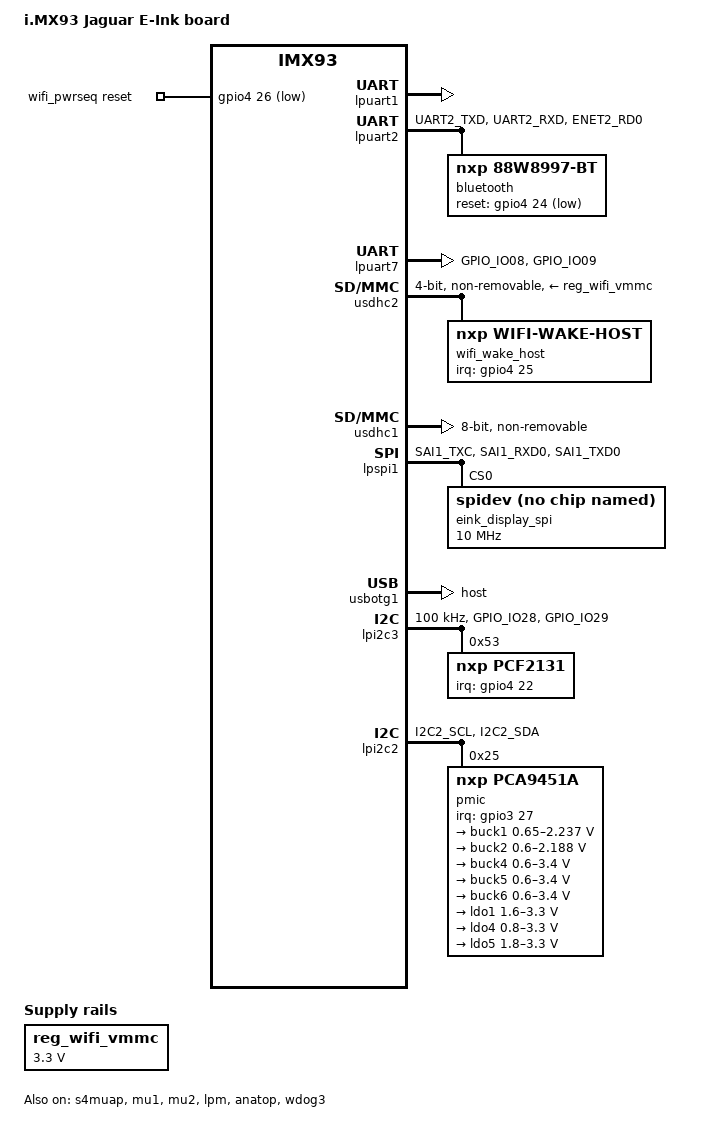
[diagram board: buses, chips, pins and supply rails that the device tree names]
// SPDX-License-Identifier: (GPL-2.0+ OR MIT)
/*
 * Copyright 2022 NXP
 * Copyright 2024 Dynamic Devices Ltd
 * 
 * Device tree for Dynamic Devices i.MX93 Jaguar E-Ink board
 * 
 * ============================================================================
 * CRITICAL FIXES APPLIED - DO NOT REVERT WITHOUT UNDERSTANDING
 * ============================================================================
 * 
 * 1. BBNSM IRQ CONFLICT RESOLUTION:
 *    - BBNSM RTC disabled (using external PCF2131 for 166x power savings)
 *    - BBNSM power key disabled (no physical button on board)
 *    - Prevents: genirq: Flags mismatch irq 20 / bbnsm_rtc failed to request irq
 * 
 * 2. LPUART7 IRQ FIX:
 *    - Removed custom IRQ override (GIC_SPI 73) that conflicted with BBNSM
 *    - Now uses correct default IRQ (GIC_SPI 210 = Linux IRQ 242)
 *    - Prevents: GPIO device link failures and UART conflicts
 * 
 * 3. BLUETOOTH MAYA W2 LPUART FIX:
 *    - Moved from LPUART5 to LPUART2 to match actual hardware configuration
 *    - Fixes: "Bluetooth: hci0: Opcode 0x0c03 failed: -110" (HCI Reset timeout)
 *    - Root cause: Base DT has bluetooth on LPUART2, our overlay had LPUART5
 *    - btnxpuart driver now binds correctly to hardware on LPUART2
 * 
 * 4. LPSPI2 DMA ERROR FIX:
 *    - Explicitly disabled unused LPSPI2 to prevent DMA setup errors
 *    - Prevents: "fsl_lpspi 44360000.spi: dma setup error -19, use pio"
 * 
 * 5. POWER OPTIMIZATION:
 *    - Primary RTC: PCF2131 (I2C3, 600nA, wake capability)
 *    - Internal RTC: DISABLED (100µA too high for 5-year battery life)
 *    - PMU RTC: MCXC143VFM (always powered, system management)
 * 
 * Features:
 * - ublox MAYA W2 module (IW612 chipset) for WiFi/BT/802.15.4
 * - LTE modem support
 * - Power management via MCXC143VFM microcontroller
 * - E-Ink display interfaces (SPI primary, QSPI disabled)
 * - 5-year battery life optimization
 * ============================================================================
 */

/dts-v1/;

#include <dt-bindings/input/input.h>
#include <dt-bindings/gpio/gpio.h>
#include <dt-bindings/interrupt-controller/irq.h>
#include "freescale/imx93.dtsi"

/* EdgeLock Enclave enabled on E-Ink board for secure functionality */

/ {
	model = "i.MX93 Jaguar E-Ink board";
    compatible = "fsl,imx93-jaguar-eink", "fsl,imx93-11x11-evk", "fsl,imx93";

	chosen {
		stdout-path = &lpuart1;
	};

	/* Serial port aliases - explicit mapping to prevent out-of-range errors */
	aliases {
		serial0 = &lpuart1;  /* Console UART */
		serial1 = &lpuart2;  /* Bluetooth UART - MAYA W2 */
		serial2 = &lpuart7;  /* Power Management UART - MCXC143VFM PMU */
		/* Explicitly disable unused LPUARTs to prevent conflicts */
		serial3 = &lpuart3;  /* Unused */
		serial4 = &lpuart4;  /* Unused */
		serial5 = &lpuart5;  /* Unused */
		serial6 = &lpuart6;  /* Unused */
		serial7 = &lpuart8;  /* Unused */
	};

	/* LMP Bootloader node - required by Foundries.io LMP */
	bootloader {
		compatible = "lmp,bootloader";
	};

	reserved-memory {
		#address-cells = <2>;
		#size-cells = <2>;
		ranges;

		linux,cma {
			compatible = "shared-dma-pool";
			reusable;
			alloc-ranges = <0 0x80000000 0 0x40000000>;
			size = <0 0x10000000>;
			linux,cma-default;
		};

		ethosu_mem: ethosu_region@C0000000 {
			compatible = "shared-dma-pool";
			reusable;
			reg = <0x0 0xC0000000 0x0 0x10000000>;
		};

		/* EdgeLock Enclave reserved memory region */
		ele_reserved: ele-reserved@90000000 {
			compatible = "shared-dma-pool";
			reg = <0 0x90000000 0 0x100000>;
			no-map;
		};

		/* Cortex-M33 reserved memory regions */
		rsc_table: rsc-table@1fff8000 {
			reg = <0 0x1fff8000 0 0x1000>;
			no-map;
		};

		vdev0vring0: vdev0vring0@aff00000 {
			reg = <0 0xaff00000 0 0x8000>;
			no-map;
		};

		vdev0vring1: vdev0vring1@aff08000 {
			reg = <0 0xaff08000 0 0x8000>;
			no-map;
		};

		vdev1vring0: vdev1vring0@aff10000 {
			reg = <0 0xaff10000 0 0x8000>;
			no-map;
		};

		vdev1vring1: vdev1vring1@aff18000 {
			reg = <0 0xaff18000 0 0x8000>;
			no-map;
		};

		vdevbuffer: vdevbuffer@a8400000 {
			compatible = "shared-dma-pool";
			reg = <0 0xa8400000 0 0x100000>;
			no-map;
		};

		m33_reserved: m33_noncacheable_section@a8600000 {
			no-map;
			reg = <0 0xa8600000 0 0x1000000>;
		};
	};

	/* WiFi SDIO power sequence */
	wifi_pwrseq: wifi-pwrseq {
		compatible = "mmc-pwrseq-simple";
		pinctrl-names = "default";
		pinctrl-0 = <&pinctrl_wifi_gpio>;
		reset-gpios = <&gpio4 26 GPIO_ACTIVE_LOW>; /* WLAN_RST */
		post-power-on-delay-ms = <500>; /* Increased for proper reset */
		power-off-delay-us = <50000>; /* Increased to 50ms for proper reset */
	};

	/* Regulators */
	reg_wifi_vmmc: regulator-wifi-vmmc {
		compatible = "regulator-fixed";
		regulator-name = "VSD_3V3";
		regulator-min-microvolt = <3300000>;
		regulator-max-microvolt = <3300000>;
		/* WiFi power is controlled by MCXC143VFM, not directly by i.MX93 GPIO */
		regulator-always-on;
		startup-delay-us = <100>;
	};

};

/* Cortex-M33 support - TODO: Add proper CM33 node definition for i.MX93 */
/* Removed &cm33 reference as it doesn't exist in i.MX93 base device tree */

/* EdgeLock Enclave Message Unit - required for secure functionality */
&s4muap {
	status = "okay";
};

&mu1 {
	status = "okay";
};

&mu2 {
	status = "okay";
};

/* EdgeLock Enclave Message Unit - required for secure functionality */
&s4muap {
	status = "okay";
};

&mu1 {
	status = "okay";
};

&mu2 {
	status = "okay";
};

/* ============================================================================
 * BBNSM (Battery-Backed Security Module) Configuration - POWER OPTIMIZED
 * ============================================================================
 * 
 * CRITICAL IRQ CONFLICT RESOLUTION:
 * The base i.MX93 device tree defines both bbnsm_rtc and bbnsm_pwrkey using
 * the SAME IRQ (GIC_SPI 73 = Linux IRQ 105). This causes boot failures:
 * 
 * ERROR: genirq: Flags mismatch irq 20. 00000084 (rtc alarm) vs. 00000004 (fsl-lpuart)
 * ERROR: bbnsm_rtc 44440000.bbnsm:rtc: failed to request irq 20: -16
 * 
 * SOLUTION: Disable both BBNSM devices since:
 * 1. No physical power button exists on this board
 * 2. External PCF2131 RTC is 166x more power efficient (600nA vs 100µA)
 * 
 * POWER ARCHITECTURE:
 * - Internal BBNSM RTC: ~100µA (DISABLED - too high for 5-year battery life)
 * - External PCF2131 RTC: 600nA (PRIMARY - ultra-low power, I2C3 @ 0x53)
 * - MCXC143VFM PMU RTC: Always powered (internal to power management micro)
 * ============================================================================ */

&bbnsm_pwrkey {
	status = "disabled";  /* No physical power button on this board */
};

&bbnsm_rtc {
	status = "disabled";  /* Using external PCF2131 for 166x better power efficiency */
};


/* Console UART */
&lpuart1 {
	status = "okay";
};

/* Unused UARTs - explicitly disable to prevent GPIO conflicts and device link failures */
&lpuart2 {
	pinctrl-names = "default";
	pinctrl-0 = <&pinctrl_lpuart2 &pinctrl_bluetooth_gpio>;
	/* MAYA W2 Bluetooth configuration - higher baudrate required
	 * Hardware flow control disabled to prevent timeout issues
	 * Fixes: "Bluetooth: hci0: Setting wake-up method failed (-110)"
	 * Reference: MAYA W2 needs 3MHz baudrate for proper initialization
	 */
	/* fsl,uart-has-rtscts; -- DISABLED for MAYA W2 compatibility */
	status = "okay";  /* Bluetooth UART - MAYA W2 */

	bluetooth {
		compatible = "nxp,88w8997-bt";
		fw-init-baudrate = <3000000>;  /* Higher baudrate for MAYA W2 - 115200 was causing timeout errors */
		reset-gpios = <&gpio4 24 GPIO_ACTIVE_LOW>;  /* BT_RST - MX93_PAD_ENET2_RD0__GPIO4_IO24 */
	};
};

&lpuart3 {
	status = "disabled";  /* Unused */
	/* Disable power management to prevent device link failures during boot */
	/delete-property/ power-domains;
};

&lpuart4 {
	status = "disabled";  /* Unused */
	/* Disable power management to prevent device link failures during boot */
	/delete-property/ power-domains;
};

&lpuart6 {
	status = "disabled";  /* Unused */
	/* Disable power management to prevent device link failures during boot */
	/delete-property/ power-domains;
};

&lpuart8 {
	status = "disabled";  /* Unused */
	/* Disable power management to prevent device link failures during boot */
	/delete-property/ power-domains;
};

/* Pin configuration for LPUART2 Bluetooth */
&iomuxc {
	/* Pin configuration for LPUART2 Bluetooth - MAYA W2 without flow control */
	pinctrl_lpuart2: lpuart2grp {
		fsl,pins = <
			MX93_PAD_UART2_TXD__LPUART2_TX		0x31e  /* BT UART TX - Output from iMX93 */
			MX93_PAD_UART2_RXD__LPUART2_RX		0x31e  /* BT UART RX - Input to iMX93 */
			/* RTS/CTS pins removed - MAYA W2 doesn't support hardware flow control reliably
			 * Hardware flow control disabled to prevent timeout issues
			 */
		>;
	};

	pinctrl_bluetooth_gpio: bluetooth_gpio_grp {
		fsl,pins = <
			MX93_PAD_ENET2_RD0__GPIO4_IO24		0x31e  /* BT_RST - Active Low, Software Reset for BT & 802.15.4 */
		>;
	};

	/* LPUART7 pinctrl for MCXC143VFM power management microcontroller */
	pinctrl_lpuart7: lpuart7grp {
		fsl,pins = <
			MX93_PAD_GPIO_IO08__LPUART7_TX		0x31e  /* TX to MCXC143VFM power management micro */
			MX93_PAD_GPIO_IO09__LPUART7_RX		0x31e  /* RX from MCXC143VFM power management micro */
		>;
	};

	/* WiFi GPIO pin configuration */
	pinctrl_wifi_gpio: wifi_gpio_grp {
		fsl,pins = <
			MX93_PAD_ENET2_RD2__GPIO4_IO26		0x31e  /* WLAN_RST - WiFi Reset (Active-Low) */
		>;
	};

	/* FlexSPI1 (QSPI) pin configuration for E-Ink display - Primary Option */
	pinctrl_flexspi1: flexspi1grp {
		fsl,pins = <
			MX93_PAD_SD3_CLK__FLEXSPI1_A_SCLK	0x31e  /* QSPI Clock */
			MX93_PAD_SD3_CMD__FLEXSPI1_A_SS0_B	0x31e  /* QSPI CS0 */
			MX93_PAD_SD3_DATA0__FLEXSPI1_A_DATA00	0x31e  /* QSPI Data 0 */
			MX93_PAD_SD3_DATA1__FLEXSPI1_A_DATA01	0x31e  /* QSPI Data 1 */
			MX93_PAD_SD3_DATA2__FLEXSPI1_A_DATA02	0x31e  /* QSPI Data 2 */
			MX93_PAD_SD3_DATA3__FLEXSPI1_A_DATA03	0x31e  /* QSPI Data 3 */
		>;
	};

	/* SPI1 pin configuration for E-Ink display - Backup Option */
	pinctrl_lpspi1: lpspi1grp {
		fsl,pins = <
			MX93_PAD_SAI1_TXC__LPSPI1_SIN		0x31e  /* MISO */
			MX93_PAD_SAI1_RXD0__LPSPI1_SOUT		0x31e  /* MOSI */
			MX93_PAD_SAI1_TXD0__LPSPI1_SCK		0x31e  /* SCK */
		>;
	};

	/* SPI3 pin configuration - NOT USED on this board */
	/* 802.15.4 interface not implemented - pins needed for LPUART7 power management */
	/*
	pinctrl_lpspi3: lpspi3grp {
		fsl,pins = <
			MX93_PAD_GPIO_IO09__LPSPI3_SIN		0x31e  // MOSI - conflicts with LPUART7_RX
			MX93_PAD_GPIO_IO10__LPSPI3_SOUT		0x31e  // MISO
			MX93_PAD_GPIO_IO11__LPSPI3_SCK		0x31e  // SCK
			MX93_PAD_GPIO_IO08__LPSPI3_PCS0		0x31e  // CS0 - conflicts with LPUART7_TX
			MX93_PAD_ENET2_RD3__GPIO4_IO27		0x31e  // ZB_INT - 802.15.4 Interrupt
		>;
	};
	*/

	/* E-Ink display GPIO pins
	 * 
	 * CRITICAL: i.MX93 GPIO CHIP MAPPING (NON-LOGICAL ORDER!)
	 * =====================================================
	 * gpiochip0: GPIOs 512-543 = GPIO2 (platform/43810000)
	 * gpiochip1: GPIOs 544-575 = GPIO3 (platform/43820000)  
	 * gpiochip2: GPIOs 576-607 = GPIO4 (platform/43830000)
	 * gpiochip3: GPIOs 608-639 = GPIO1 (platform/47400000)
	 *
	 * GPIO Calculation Formula:
	 * GPIO1_IOx = 608 + x  (gpiochip3)
	 * GPIO2_IOx = 512 + x  (gpiochip0)
	 * GPIO3_IOx = 544 + x  (gpiochip1)
	 * GPIO4_IOx = 576 + x  (gpiochip2)
	 *
	 * E-Ink Control Signals (Hardware-Verified):
	 *   - RES_DIS# (GPIO 526): GPIO2_IO14 = 512+14 = 526 - Reset (Active-Low)
	 *   - D/C#_DIS (GPIO 527): GPIO2_IO15 = 512+15 = 527 - Data/Command (LO=Cmd, HI=Data)
	 *   - L#R_SEL_DIS (GPIO 528): GPIO2_IO16 = 512+16 = 528 - Chip Select Routing (LO=Left, HI=Right)
	 *   - BUSY_DIS# (GPIO 529): GPIO2_IO17 = 512+17 = 529 - Busy Status (LO=Busy, Input)
	 *   - CS1 (GPIO 619): GPIO1_IO11 = 608+11 = 619 - Chip Select 1 (Right half)
	 *   - NO POWER ENABLE GPIO (power managed by MCXC143VFM microcontroller)
	 */
	pinctrl_eink_gpio: eink_gpio_grp {
		fsl,pins = <
			MX93_PAD_GPIO_IO14__GPIO2_IO14		0x31e  /* RES_DIS# - Reset (Active-Low) - GPIO 526 */
			MX93_PAD_GPIO_IO15__GPIO2_IO15		0x31e  /* D/C#_DIS - Data/Command (LO=Cmd, HI=Data) - GPIO 527 */
			MX93_PAD_GPIO_IO16__GPIO2_IO16		0x31e  /* L#R_SEL_DIS - Chip Select Routing (LO=Left, HI=Right) - GPIO 528 */
			MX93_PAD_GPIO_IO17__GPIO2_IO17		0x31e  /* CS0 - Chip Select 0 (Left half) - GPIO 529 */
			MX93_PAD_SAI1_TXFS__GPIO1_IO11		0x31e  /* CS1 - Chip Select 1 (Right half) - GPIO 619 */
		>;
	};

	/* I2C2 pinctrl for PCA9451A PMIC */
	pinctrl_lpi2c2: lpi2c2grp {
		fsl,pins = <
			MX93_PAD_I2C2_SCL__LPI2C2_SCL		0x40000b9e  /* I2C2_SCL */
			MX93_PAD_I2C2_SDA__LPI2C2_SDA		0x40000b9e  /* I2C2_SDA */
		>;
	};

	/* I2C3 pinctrl for PCF2131 RTC - confirmed by schematic */
	pinctrl_lpi2c3: lpi2c3grp {
		fsl,pins = <
			MX93_PAD_GPIO_IO28__LPI2C3_SDA		0x40000b9e  /* I2C3_SDA */
			MX93_PAD_GPIO_IO29__LPI2C3_SCL		0x40000b9e  /* I2C3_SCL */
		>;
	};

	/* PCF2131 RTC interrupt pin configuration */
	pinctrl_pcf2131_irq: pcf2131_irq_grp {
		fsl,pins = <
			MX93_PAD_ENET2_RX_CTL__GPIO4_IO22	0x31e  /* PCF2131 INTA# - Wake interrupt */
		>;
	};

};

&lpuart5 {
	status = "disabled";  /* Unused - Bluetooth moved to LPUART2 to match hardware */
	/* Disable power management to prevent device link failures during boot */
	/delete-property/ power-domains;
};

/* ============================================================================
 * Power Control Microcontroller UART - MCXC143VFM - LPUART7
 * ============================================================================
 * 
 * CRITICAL IRQ FIX - CUSTOM IRQ OVERRIDE REMOVED:
 * Previous incorrect configuration had:
 *   interrupts = <GIC_SPI 73 IRQ_TYPE_LEVEL_HIGH>;  // WRONG - conflicts with BBNSM
 * 
 * This caused IRQ conflicts because GIC_SPI 73 (Linux IRQ 105) was already
 * used by BBNSM RTC and BBNSM power key, leading to boot failures.
 * 
 * CORRECT CONFIGURATION:
 * Now uses default IRQ from base i.MX93 device tree:
 *   - LPUART7 @ 0x42690000: GIC_SPI 210 (Linux IRQ 242)
 *   - No conflicts with other devices
 * 
 * HARDWARE DETAILS:
 * - Address: 0x42690000 (LPUART7)
 * - IRQ: GIC_SPI 210 (Linux IRQ 242) - from base imx93.dtsi
 * - Device: /dev/ttyLP2 (serial2 alias)
 * - Pins: MX93_PAD_GPIO_IO08 (TX), MX93_PAD_GPIO_IO09 (RX)
 * - Baudrate: 115200 (default)
 * 
 * MCXC143VFM FUNCTIONS:
 * - WiFi/BT power control and sequencing
 * - Battery monitoring and fuel gauge
 * - System power management and wake scheduling  
 * - 5-year battery life optimization algorithms
 * ============================================================================ */
&lpuart7 {
	pinctrl-names = "default";
	pinctrl-0 = <&pinctrl_lpuart7>;
	/* Use default IRQ assignment from base i.MX93 device tree (GIC_SPI 210 = IRQ 242) */
	/* Previous custom override (GIC_SPI 73) was causing IRQ conflicts with BBNSM */
	status = "okay";
	
	/* TEMPORARY WORKAROUND FOR TESTING: Disable runtime power management for MCXC143VFM communication */
	/* This prevents the UART from going into suspend mode which breaks PMU communication */
	/* TODO: Find a more elegant solution that allows power management while maintaining communication */
	/delete-property/ power-domains;
	
	/* No child device node - MCXC143VFM controlled via userspace application */
};

/* WiFi SDIO Interface - ublox MAYA W2 (IW612) */
&usdhc2 {
	vmmc-supply = <&reg_wifi_vmmc>;
	mmc-pwrseq = <&wifi_pwrseq>;
	bus-width = <4>;
	keep-power-in-suspend;
	non-removable;
	wakeup-source;
	max-frequency = <100000000>;
	fsl,sdio-async-interrupt-enabled;
	pm-ignore-notify;
	cap-power-off-card;
	status = "okay";

	wifi_wake_host {
		compatible = "nxp,wifi-wake-host";
		interrupt-parent = <&gpio4>;
		interrupts = <25 IRQ_TYPE_LEVEL_LOW>;  /* ENET2_RD1 - SD2_INT */
		interrupt-names = "host-wake";
		wakeup-source;
	};
};

/* eMMC storage */
&usdhc1 {
	bus-width = <8>;
	non-removable;
	keep-power-in-suspend;
	status = "okay";
};

/*
 * E-Ink Display SPI Configuration - Spectra 6 EL133UF1
 * 
 * Both QSPI and regular SPI interfaces are enabled by default for maximum flexibility:
 * 
 * FlexSPI1 (QSPI) - Primary Option:
 *   - Device: /dev/spidev0.0
 *   - Speed: Up to 80 MHz
 *   - 4-bit data width (quad mode)
 *   - Uses SD3 pins (SD3_CLK, SD3_CMD, SD3_DATA0-3)
 *   - Compatible: "spectra6,el133uf1-qspi", "spidev" (fallback for testing)
 * 
 * LPSPI1 (Regular SPI) - Backup/Alternative Option:
 *   - Device: /dev/spidev1.0  
 *   - Speed: Up to 10 MHz (conservative)
 *   - 1-bit data width (standard SPI)
 *   - Uses SAI1 pins (SAI1_TXC, SAI1_RXD0, SAI1_TXD0, SAI1_TXFS)
 *   - Compatible: "spectra6,el133uf1-spi", "spidev" (fallback for testing)
 * 
 * Both interfaces share the same GPIO control pins (reset, busy, dc) and power supply.
 * The spidev fallback compatible string enables /dev/spidev* devices for testing
 * and development while preserving the ability to load custom E-Ink drivers.
 */

/* QSPI Interface for E-Ink Display - DISABLED (FlexSPI doesn't support spidev) */
&flexspi1 {
	pinctrl-names = "default";
	pinctrl-0 = <&pinctrl_flexspi1>;
	status = "disabled"; /* FlexSPI uses MTD subsystem, not spidev */

	eink_display: flash@0 {
		compatible = "rohm,dh2228fv";
		reg = <0>;
		spi-max-frequency = <80000000>; /* 80 MHz - QSPI can handle higher speeds */
		spi-tx-bus-width = <4>; /* Quad SPI - 4 data lines for TX */
		spi-rx-bus-width = <4>; /* Quad SPI - 4 data lines for RX */
		
		/* GPIO control pins for E-Ink display - pinctrl only (allows userspace access) */
		pinctrl-names = "default";
		pinctrl-0 = <&pinctrl_eink_gpio>;
		
		
		status = "disabled"; /* FlexSPI uses MTD subsystem, not spidev */
	};
};

/* Standard SPI Interface for E-Ink Display - PRIMARY for testing */
&lpspi1 {
	#address-cells = <1>;
	#size-cells = <0>;
	pinctrl-names = "default";
	pinctrl-0 = <&pinctrl_lpspi1>;
	/* Add DMA channels for better performance and eliminate DMA probe errors */
	dmas = <&edma1 0 14>, <&edma1 0 15>;
	dma-names = "tx", "rx";
	status = "okay"; /* Primary interface for standard SPI testing */

	eink_display_spi: eink@0 {
		compatible = "rohm,dh2228fv";
		reg = <0>;
		spi-max-frequency = <10000000>; /* 10 MHz - conservative for regular SPI */
		spi-cpha;
		spi-cpol;
		
		/* GPIO control pins for E-Ink display - pinctrl only (allows userspace access) */
		pinctrl-names = "default";
		pinctrl-0 = <&pinctrl_eink_gpio>;
		
		
		status = "okay";
	};
};

/* ============================================================================
 * LPSPI2 - DISABLED (DMA Error Fix)
 * ============================================================================
 * 
 * HARDWARE: Not used on this board (address 0x44360000)
 * 
 * DMA ERROR FIX:
 * Previous boot error: "fsl_lpspi 44360000.spi: dma setup error -19, use pio"
 * 
 * ROOT CAUSE: LPSPI2 was trying to set up DMA channels but:
 * 1. No DMA channels assigned in device tree
 * 2. Hardware not connected on this board
 * 3. Driver still attempts DMA setup during probe
 * 
 * SOLUTION: Explicitly disable to prevent DMA probe errors and reduce power
 * ============================================================================ */
&lpspi2 {
	status = "disabled";
};

/*
 * 802.15.4 SPI Interface - NOT IMPLEMENTED on this board
 * 
 * The ublox MAYA W2 module does not provide 802.15.4 functionality on this board.
 * GPIO_IO08 and GPIO_IO09 are needed for LPUART7 (MCXC143VFM power management).
 * 
 * Original planned configuration (not used):
 *   - Device: /dev/spidev2.0
 *   - Speed: Up to 12 MHz
 *   - Uses GPIO pins (GPIO_IO08-11) for SPI signals
 *   - Interrupt: GPIO4_IO27 (ENET2_RD3)
 */
&lpspi3 {
	status = "disabled";
};

/* ============================================================================
 * EDMA1 DMA Controller - Enable for LPSPI1 DMA support
 * ============================================================================
 * 
 * PROBLEM: LPSPI1 DMA setup error -19 (ENODEV)
 * ERROR: "fsl_lpspi 44360000.spi: dma setup error -19, use pio"
 * 
 * ROOT CAUSE: EDMA1 controller not explicitly enabled in device tree
 * - LPSPI1 requests: dmas = <&edma1 0 14>, <&edma1 0 15>
 * - EDMA1 exists at 44000000.dma-controller but may be disabled by default
 * - Error sequence: -517 (EPROBE_DEFER) → -19 (ENODEV) → PIO fallback
 * 
 * SOLUTION: Explicitly enable EDMA1 controller
 * - Ensures DMA channels are available for LPSPI1
 * - Eliminates boot error and improves SPI performance
 * - DMA channels 14 and 15 verified available (in_use: 0)
 * ============================================================================ */
&edma1 {
	status = "okay";
};

/*
 * USB-C port (usbotg1) - board lacks Type-C/PD controller so operate in forced host mode.
 * No external VBUS regulator control needed - hardware provides fixed 5V.
 */
&usbotg1 {
	dr_mode = "host";
	hnp-disable;
	srp-disable;
	adp-disable;
	disable-over-current;
	status = "okay";
};


/* ============================================================================
 * I2C3 Interface for PCF2131 RTC - PRIMARY RTC FOR 5-YEAR BATTERY LIFE
 * ============================================================================
 * 
 * SCHEMATIC CONFIRMED: PCF2131 connects to I2C3_SDA/SCL via GPIO_IO28/29
 * 
 * POWER-OPTIMIZED RTC ARCHITECTURE:
 * - Internal i.MX93 BBNSM RTC: ~100µA (DISABLED - too high for 5-year battery)
 * - External PCF2131 RTC: 600nA (PRIMARY - 166x more efficient!)
 * - MCXC143VFM PMU RTC: Always powered (internal to PMU)
 * 
 * HARDWARE CONNECTIONS (per schematic):
 * - I2C3_SDA: GPIO_IO28 (pin J21) → PCF2131 pin 5
 * - I2C3_SCL: GPIO_IO29 (pin J20) → PCF2131 pin 4
 * - INTA#: GPIO4_IO22 → i.MX93 wake interrupt
 * - INTB#: Connected to MCXC143VFM PMU
 * ============================================================================ */
&lpi2c3 {
	#address-cells = <1>;
	#size-cells = <0>;
	pinctrl-names = "default";
	pinctrl-0 = <&pinctrl_lpi2c3>;
	status = "okay";
	clock-frequency = <100000>;  /* 100kHz for low power operation */
	
	/* Ensure clocks are properly assigned and enabled */
	assigned-clocks = <&clk IMX93_CLK_LPI2C3_GATE>;
	assigned-clock-parents = <&clk IMX93_CLK_SYS_PLL_PFD1_DIV2>;
	assigned-clock-rates = <24000000>;

	pcf2131: rtc@53 {
		compatible = "nxp,pcf2131";
		reg = <0x53>;
		pinctrl-names = "default";
		pinctrl-0 = <&pinctrl_pcf2131_irq>;
		interrupt-parent = <&gpio4>;
		interrupts = <22 IRQ_TYPE_LEVEL_LOW>; /* GPIO4_IO22 - INTA# */
		interrupt-names = "alarm";
		wakeup-source;                         /* Enable wake capability */
		
		/* POWER OPTIMIZATION: Direct switching mode for lower power consumption */
		nxp,power-mode = <3>;                  /* Direct switching mode (011) */
		
		/* ULTRA-LOW POWER: Disable temperature compensation for minimum current */
		nxp,temp-compensation-disable;
		
		/* BATTERY MANAGEMENT: Optimize for 3.3V VBAT operation */
		nxp,battery-low-detection;
		
		/* WAKE OPTIMIZATION: Configure both interrupt outputs */
		nxp,dual-interrupt-mode;
	};
};

/* 
 * I2C2 Interface for PCA9451A PMIC
 * 
 * Hardware Configuration:
 *   - PCA9451A PMIC connected to i.MX93 LPI2C2  
 *   - I2C Address: 0x25
 *   - SDA: MX93_PAD_I2C2_SDA__LPI2C2_SDA
 *   - SCL: MX93_PAD_I2C2_SCL__LPI2C2_SCL
 *   - Provides power rails for i.MX93 SoC and peripherals
 *   - BUCK1 supplies VDD_SOC for LPM driver
 */
&lpi2c2 {
	#address-cells = <1>;
	#size-cells = <0>;
	pinctrl-names = "default";
	pinctrl-0 = <&pinctrl_lpi2c2>;
	status = "okay";

	pmic: pca9451a@25 {
		compatible = "nxp,pca9451a";
		reg = <0x25>;
		interrupt-parent = <&gpio3>;
		interrupts = <27 IRQ_TYPE_EDGE_FALLING>;

		regulators {
			buck1: BUCK1 {
				regulator-name = "BUCK1";
				regulator-min-microvolt = <650000>;
				regulator-max-microvolt = <2237500>;
				regulator-boot-on;
				regulator-always-on;
				regulator-ramp-delay = <3125>;
			};

			buck2: BUCK2 {
				regulator-name = "BUCK2";
				regulator-min-microvolt = <600000>;
				regulator-max-microvolt = <2187500>;
				regulator-boot-on;
				regulator-always-on;
				regulator-ramp-delay = <3125>;
			};

			buck4: BUCK4 {
				regulator-name = "BUCK4";
				regulator-min-microvolt = <600000>;
				regulator-max-microvolt = <3400000>;
				regulator-boot-on;
				regulator-always-on;
			};

			buck5: BUCK5 {
				regulator-name = "BUCK5";
				regulator-min-microvolt = <600000>;
				regulator-max-microvolt = <3400000>;
				regulator-boot-on;
				regulator-always-on;
			};

			buck6: BUCK6 {
				regulator-name = "BUCK6";
				regulator-min-microvolt = <600000>;
				regulator-max-microvolt = <3400000>;
				regulator-boot-on;
				regulator-always-on;
			};

			ldo1: LDO1 {
				regulator-name = "LDO1";
				regulator-min-microvolt = <1600000>;
				regulator-max-microvolt = <3300000>;
				regulator-boot-on;
				regulator-always-on;
			};

			ldo4: LDO4 {
				regulator-name = "LDO4";
				regulator-min-microvolt = <800000>;
				regulator-max-microvolt = <3300000>;
				regulator-boot-on;
				regulator-always-on;
			};

			ldo5: LDO5 {
				regulator-name = "LDO5";
				regulator-min-microvolt = <1800000>;
				regulator-max-microvolt = <3300000>;
				regulator-boot-on;
				regulator-always-on;
			};
		};
	};
};

/* GPIO pins are available for userspace control via your application */
/* Pinctrl configurations above ensure proper pin muxing to GPIO function */

/* ============================================================================
 * POWER MANAGEMENT CONFIGURATION
 * Critical for 5-year battery life requirement
 * ============================================================================ */

/* i.MX93 Low Power Management (LPM) Driver - CRITICAL FOR CPU FREQUENCY SCALING
 * Enables 4 operating modes:
 * - Mode 0 (OD): 1700 MHz CPU, 3733 MT/s DDR (High Performance)
 * - Mode 1 (ND): 1400 MHz CPU, 1866 MT/s DDR (Balanced)
 * - Mode 2 (LD): 900 MHz CPU, 1866 MT/s DDR (Power Save)
 * - Mode 3 (LD): 900 MHz CPU, 625 MT/s DDR (Maximum Power Save)
 * 
 * Control via: echo 3 > /sys/devices/platform/imx93-lpm/mode
 * Status via: cat /sys/devices/platform/imx93-lpm/mode
 * Clock rate: cat /sys/kernel/debug/clk/a55_core/clk_rate
 * 
 * NOTE: Power management handled by custom MCXC143VFM microcontroller
 * PMIC: Standard PCA9451A provides VDD_SOC regulation via BUCK1
 */
&lpm {
	soc-supply = <&buck1>;	/* CRITICAL: VDD_SOC supply from PMIC BUCK1 */
	ld-mode-enabled;        /* Enable Low Drive modes (2,3) for maximum power savings */
	status = "okay";        /* Enable the driver - CRITICAL */
};

/* ANATOP - Analog power management and voltage regulation */
&anatop {
	status = "okay";
};

&wdog3 {
	status = "okay";
	timeout-sec = <40>;
};

/* ============================================================================
 * EDGELOCK ENCLAVE (ELE) CONFIGURATION - CRITICAL FOR BOOT SUCCESS
 * ============================================================================ */

/* EdgeLock Enclave Memory Unit - CRITICAL FIX for boot hang
 * Links ELE device to its reserved memory region
 * Without this: "fsl-ele-mu soc@0:ele-mu: failed to init reserved memory region -19"
 * Followed by: RCU stall at 21 seconds causing boot failure
 */
&ele_mu {
	memory-region = <&ele_reserved>;
};

/* ============================================================================
 * CORTEX-M33 CONFIGURATION - POWER MANAGEMENT MICROCONTROLLER
 * ============================================================================ */

/* ============================================================================
 * CORTEX-M33 CONFIGURATION - POWER MANAGEMENT MICROCONTROLLER
 * ============================================================================ */

/* i.MX93 Cortex-M33 - MCXC143VFM Power Management Microcontroller
 * 
 * Based on i.MX93 Reference Manual Chapters 13-16:
 * - Chapter 13.1: CM33 has 128KB Code TCM + 128KB System TCM
 * - Memory mapping: Code TCM 0x0FFE_0000, Data TCM 0x2000_0000
 * - System access: 0x201E_0000-0x201F_FFFF (Code), 0x2020_0000-0x2021_FFFF (System)
 * 
 * Configuration pattern from working i.MX8ULP example (&imx8ulp_cm33):
 * - Links M33 device to reserved memory regions
 * - Fixes: "of_reserved_mem_lookup() returned NULL" error
 * - Enables RPMSG communication with MCXC143VFM microcontroller
 * - Memory regions: rsc_table, vdev rings, vdevbuffer, m33_reserved
 * 
 * RPMSG drivers enabled in kernel: cortex-m33-support.cfg
 * Userspace tools: Need to verify remoteproc utilities availability
 */

/* NOTE: Device tree label research needed
 * - i.MX8ULP uses: &imx8ulp_cm33
 * - i.MX93 likely uses: &imx93_cm33 or similar
 * - Need to check i.MX93 base device tree for correct label
 * - Pattern: &<soc>_cm33 { ... }
 */

/* TODO: Uncomment when correct device tree label is confirmed
&imx93_cm33 {
	memory-region = <&vdevbuffer>, <&vdev0vring0>, <&vdev0vring1>, <&rsc_table>;
	rsc-da = <0x1fff8000>;
	mbox-names = "tx", "rx", "rxdb";
	mboxes = <&mu 0 1
		  &mu 1 1
		  &mu 3 1>;
	status = "okay";
};
*/
